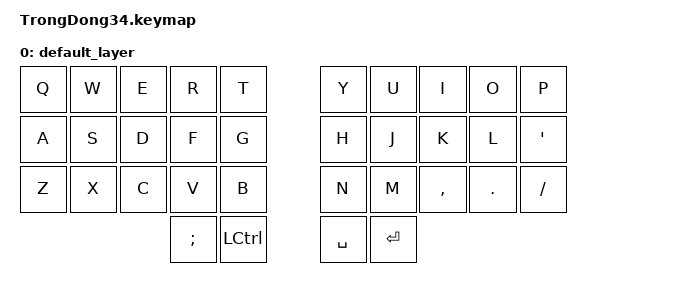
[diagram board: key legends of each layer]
#include <behaviors.dtsi>
#include <dt-bindings/zmk/keys.h>
#include <dt-bindings/zmk/bt.h>
 
/ {
    keymap {
        compatible = "zmk,keymap";
 
        default_layer {
            bindings = <
                &kp Q &kp W &kp E &kp R &kp T 					    &kp Y &kp U  &kp I    &kp O   &kp P 
		        &kp A &kp S &kp D &kp F &kp G 			        	&kp H &kp J &kp K &kp L &kp QUOT
		        &kp Z &kp X &kp C &kp V &kp B				        &kp N &kp M  &kp CMMA &kp DOT &kp FSLH
          				               &kp SEMICOLON &kp LCTL  				&kp SPC &kp ENTER 
            >;
        };
    };
};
